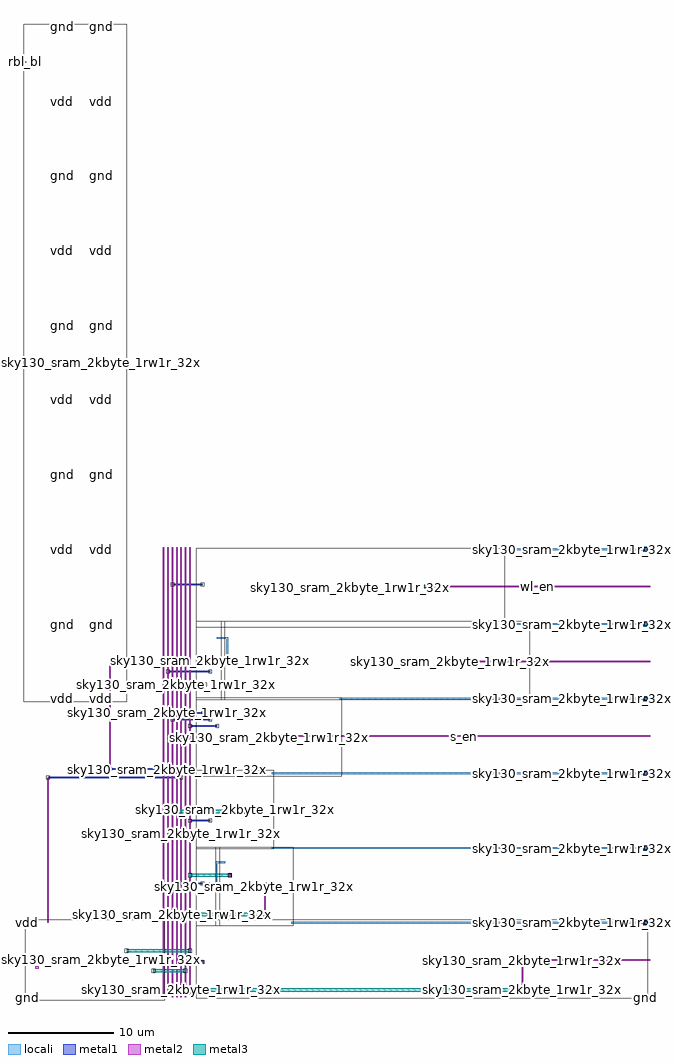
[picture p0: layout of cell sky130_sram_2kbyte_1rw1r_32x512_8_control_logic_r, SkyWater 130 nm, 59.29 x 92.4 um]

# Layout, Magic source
magic
tech sky130A
magscale 1 2
<< locali >>
rect 8998 8467 11698 8501
rect 8998 7053 11698 7087
rect 3573 6790 3792 6824
rect 3758 6308 3792 6790
rect 5908 5639 11698 5673
rect 4620 4225 11698 4259
rect 4620 2811 11698 2845
rect 3555 2541 3740 2575
rect 3555 2176 3589 2541
rect 3422 2142 3589 2176
rect 4988 1397 11698 1431
<< metal1 >>
rect 11666 8458 11730 8510
rect 2736 7801 3307 7829
rect 7502 7751 7566 7803
rect 11666 7044 11730 7096
rect 7970 6337 8034 6389
rect 2652 6160 3455 6188
rect 2820 5912 3355 5940
rect 11666 5630 11730 5682
rect 2652 5372 3322 5400
rect 2736 5248 3455 5276
rect 3072 5124 3588 5152
rect 4736 4923 4800 4975
rect 1553 4308 2652 4336
rect 11666 4216 11730 4268
rect 383 4148 2904 4176
rect 4094 3493 4158 3545
rect 3072 3332 3455 3360
rect 2904 3084 3355 3112
rect 11666 2802 11730 2854
rect 3791 2284 3855 2336
rect 2904 2145 3307 2173
rect 4462 2111 4526 2163
rect 11666 1388 11730 1440
rect 3275 643 3339 695
rect 9336 681 9400 733
rect 11666 -26 11730 26
<< metal2 >>
rect -57 17699 -29 17727
rect 1539 4322 1567 6401
rect 369 1414 397 4162
rect 137 538 203 590
rect 2554 0 2582 8524
rect 2638 0 2666 8524
rect 2722 0 2750 8524
rect 2806 0 2834 8524
rect 2890 0 2918 8524
rect 2974 0 3002 8524
rect 3058 0 3086 8524
rect 11670 8460 11726 8508
rect 7534 7763 11782 7791
rect 11670 7046 11726 7094
rect 8002 6349 11782 6377
rect 11670 5632 11726 5680
rect 4768 4935 11782 4963
rect 11670 4218 11726 4266
rect 4098 3495 4154 3543
rect 11670 2804 11726 2852
rect 3795 2286 3851 2334
rect 4480 1571 4508 2137
rect 11670 1390 11726 1438
rect 9368 707 11782 721
rect 9354 693 11782 707
rect 3293 655 3321 683
rect 9354 141 9382 693
rect 11670 -24 11726 24
<< metal3 >>
rect 607 18333 705 18431
rect 1343 18333 1441 18431
rect 607 16919 705 17017
rect 1343 16919 1441 17017
rect 607 15505 705 15603
rect 1343 15505 1441 15603
rect 607 14091 705 14189
rect 1343 14091 1441 14189
rect 607 12677 705 12775
rect 1343 12677 1441 12775
rect 607 11263 705 11361
rect 1343 11263 1441 11361
rect 607 9849 705 9947
rect 1343 9849 1441 9947
rect 607 8435 705 8533
rect 1343 8435 1441 8533
rect 11649 8435 11747 8533
rect 607 7021 705 7119
rect 1343 7021 1441 7119
rect 11649 7021 11747 7119
rect 607 5607 705 5705
rect 1343 5607 1441 5705
rect 11649 5607 11747 5705
rect 11649 4193 11747 4291
rect 2820 3489 4126 3549
rect 11649 2779 11747 2877
rect 3072 2280 3823 2340
rect 2736 1541 4494 1601
rect -49 1365 49 1463
rect 11649 1365 11747 1463
rect 1872 855 3072 915
rect 2378 473 2988 533
rect 2904 111 9368 171
rect -49 -49 49 49
rect 11649 -49 11747 49
use sky130_sram_2kbyte_1rw1r_32x512_8_dff_buf_array_0  sky130_sram_2kbyte_1rw1r_32x512_8_dff_buf_array_0_0
transform 1 0 0 0 1 0
box -49 -49 2590 1471
use sky130_sram_2kbyte_1rw1r_32x512_8_contact_7  sky130_sram_2kbyte_1rw1r_32x512_8_contact_7_16
transform 1 0 1839 0 1 848
box 0 0 66 74
use sky130_sram_2kbyte_1rw1r_32x512_8_contact_7  sky130_sram_2kbyte_1rw1r_32x512_8_contact_7_15
transform 1 0 2345 0 1 466
box 0 0 66 74
use sky130_sram_2kbyte_1rw1r_32x512_8_pand2_1  sky130_sram_2kbyte_1rw1r_32x512_8_pand2_1_1
transform 1 0 3594 0 -1 2828
box -36 -17 1430 1471
use sky130_sram_2kbyte_1rw1r_32x512_8_pinv_1  sky130_sram_2kbyte_1rw1r_32x512_8_pinv_1_0
transform 1 0 3226 0 -1 2828
box -36 -17 404 1471
use sky130_sram_2kbyte_1rw1r_32x512_8_contact_32  sky130_sram_2kbyte_1rw1r_32x512_8_contact_32_7
transform 1 0 3039 0 1 848
box 0 0 66 74
use sky130_sram_2kbyte_1rw1r_32x512_8_contact_32  sky130_sram_2kbyte_1rw1r_32x512_8_contact_32_6
transform 1 0 2955 0 1 466
box 0 0 66 74
use sky130_sram_2kbyte_1rw1r_32x512_8_contact_32  sky130_sram_2kbyte_1rw1r_32x512_8_contact_32_5
transform 1 0 2871 0 1 104
box 0 0 66 74
use sky130_sram_2kbyte_1rw1r_32x512_8_contact_19  sky130_sram_2kbyte_1rw1r_32x512_8_contact_19_24
transform 1 0 3275 0 1 637
box 0 0 64 64
use sky130_sram_2kbyte_1rw1r_32x512_8_contact_14  sky130_sram_2kbyte_1rw1r_32x512_8_contact_14_24
transform 1 0 3278 0 1 636
box 0 0 58 66
use sky130_sram_2kbyte_1rw1r_32x512_8_contact_32  sky130_sram_2kbyte_1rw1r_32x512_8_contact_32_0
transform 1 0 9335 0 1 104
box 0 0 66 74
use sky130_sram_2kbyte_1rw1r_32x512_8_contact_19  sky130_sram_2kbyte_1rw1r_32x512_8_contact_19_15
transform 1 0 9336 0 1 675
box 0 0 64 64
use sky130_sram_2kbyte_1rw1r_32x512_8_contact_19  sky130_sram_2kbyte_1rw1r_32x512_8_contact_19_14
transform 1 0 9336 0 1 675
box 0 0 64 64
use sky130_sram_2kbyte_1rw1r_32x512_8_contact_14  sky130_sram_2kbyte_1rw1r_32x512_8_contact_14_15
transform 1 0 9339 0 1 674
box 0 0 58 66
use sky130_sram_2kbyte_1rw1r_32x512_8_contact_14  sky130_sram_2kbyte_1rw1r_32x512_8_contact_14_14
transform 1 0 9339 0 1 674
box 0 0 58 66
use sky130_sram_2kbyte_1rw1r_32x512_8_contact_7  sky130_sram_2kbyte_1rw1r_32x512_8_contact_7_11
transform 1 0 11665 0 1 1377
box 0 0 66 74
use sky130_sram_2kbyte_1rw1r_32x512_8_contact_7  sky130_sram_2kbyte_1rw1r_32x512_8_contact_7_10
transform 1 0 11665 0 1 -37
box 0 0 66 74
use sky130_sram_2kbyte_1rw1r_32x512_8_contact_7  sky130_sram_2kbyte_1rw1r_32x512_8_contact_7_9
transform 1 0 11665 0 1 1377
box 0 0 66 74
use sky130_sram_2kbyte_1rw1r_32x512_8_contact_19  sky130_sram_2kbyte_1rw1r_32x512_8_contact_19_11
transform 1 0 11666 0 1 1382
box 0 0 64 64
use sky130_sram_2kbyte_1rw1r_32x512_8_contact_19  sky130_sram_2kbyte_1rw1r_32x512_8_contact_19_10
transform 1 0 11666 0 1 -32
box 0 0 64 64
use sky130_sram_2kbyte_1rw1r_32x512_8_contact_19  sky130_sram_2kbyte_1rw1r_32x512_8_contact_19_9
transform 1 0 11666 0 1 1382
box 0 0 64 64
use sky130_sram_2kbyte_1rw1r_32x512_8_contact_14  sky130_sram_2kbyte_1rw1r_32x512_8_contact_14_11
transform 1 0 11669 0 1 1381
box 0 0 58 66
use sky130_sram_2kbyte_1rw1r_32x512_8_contact_14  sky130_sram_2kbyte_1rw1r_32x512_8_contact_14_10
transform 1 0 11669 0 1 -33
box 0 0 58 66
use sky130_sram_2kbyte_1rw1r_32x512_8_contact_14  sky130_sram_2kbyte_1rw1r_32x512_8_contact_14_9
transform 1 0 11669 0 1 1381
box 0 0 58 66
use sky130_sram_2kbyte_1rw1r_32x512_8_pdriver_6  sky130_sram_2kbyte_1rw1r_32x512_8_pdriver_6_0
transform 1 0 3226 0 1 0
box -36 -17 8508 1471
use sky130_sram_2kbyte_1rw1r_32x512_8_contact_32  sky130_sram_2kbyte_1rw1r_32x512_8_contact_32_2
transform 1 0 2703 0 1 1534
box 0 0 66 74
use sky130_sram_2kbyte_1rw1r_32x512_8_contact_19  sky130_sram_2kbyte_1rw1r_32x512_8_contact_19_23
transform 1 0 2872 0 1 2127
box 0 0 64 64
use sky130_sram_2kbyte_1rw1r_32x512_8_contact_14  sky130_sram_2kbyte_1rw1r_32x512_8_contact_14_23
transform 1 0 3278 0 1 2126
box 0 0 58 66
use sky130_sram_2kbyte_1rw1r_32x512_8_contact_32  sky130_sram_2kbyte_1rw1r_32x512_8_contact_32_4
transform 1 0 3039 0 1 2273
box 0 0 66 74
use sky130_sram_2kbyte_1rw1r_32x512_8_contact_7  sky130_sram_2kbyte_1rw1r_32x512_8_contact_7_14
transform 1 0 3790 0 1 2273
box 0 0 66 74
use sky130_sram_2kbyte_1rw1r_32x512_8_contact_7  sky130_sram_2kbyte_1rw1r_32x512_8_contact_7_13
transform 1 0 3790 0 1 2273
box 0 0 66 74
use sky130_sram_2kbyte_1rw1r_32x512_8_contact_19  sky130_sram_2kbyte_1rw1r_32x512_8_contact_19_22
transform 1 0 3791 0 1 2278
box 0 0 64 64
use sky130_sram_2kbyte_1rw1r_32x512_8_contact_19  sky130_sram_2kbyte_1rw1r_32x512_8_contact_19_21
transform 1 0 3791 0 1 2278
box 0 0 64 64
use sky130_sram_2kbyte_1rw1r_32x512_8_contact_14  sky130_sram_2kbyte_1rw1r_32x512_8_contact_14_22
transform 1 0 3794 0 1 2277
box 0 0 58 66
use sky130_sram_2kbyte_1rw1r_32x512_8_contact_14  sky130_sram_2kbyte_1rw1r_32x512_8_contact_14_21
transform 1 0 3794 0 1 2277
box 0 0 58 66
use sky130_sram_2kbyte_1rw1r_32x512_8_pand2_1  sky130_sram_2kbyte_1rw1r_32x512_8_pand2_1_0
transform 1 0 3226 0 1 2828
box -36 -17 1430 1471
use sky130_sram_2kbyte_1rw1r_32x512_8_contact_14  sky130_sram_2kbyte_1rw1r_32x512_8_contact_14_20
transform 1 0 4465 0 1 2104
box 0 0 58 66
use sky130_sram_2kbyte_1rw1r_32x512_8_contact_19  sky130_sram_2kbyte_1rw1r_32x512_8_contact_19_20
transform 1 0 4462 0 1 2105
box 0 0 64 64
use sky130_sram_2kbyte_1rw1r_32x512_8_contact_32  sky130_sram_2kbyte_1rw1r_32x512_8_contact_32_3
transform 1 0 4461 0 1 1534
box 0 0 66 74
use sky130_sram_2kbyte_1rw1r_32x512_8_contact_14  sky130_sram_2kbyte_1rw1r_32x512_8_contact_14_6
transform 1 0 11669 0 1 2795
box 0 0 58 66
use sky130_sram_2kbyte_1rw1r_32x512_8_contact_14  sky130_sram_2kbyte_1rw1r_32x512_8_contact_14_8
transform 1 0 11669 0 1 2795
box 0 0 58 66
use sky130_sram_2kbyte_1rw1r_32x512_8_contact_19  sky130_sram_2kbyte_1rw1r_32x512_8_contact_19_6
transform 1 0 11666 0 1 2796
box 0 0 64 64
use sky130_sram_2kbyte_1rw1r_32x512_8_contact_19  sky130_sram_2kbyte_1rw1r_32x512_8_contact_19_8
transform 1 0 11666 0 1 2796
box 0 0 64 64
use sky130_sram_2kbyte_1rw1r_32x512_8_contact_7  sky130_sram_2kbyte_1rw1r_32x512_8_contact_7_6
transform 1 0 11665 0 1 2791
box 0 0 66 74
use sky130_sram_2kbyte_1rw1r_32x512_8_contact_7  sky130_sram_2kbyte_1rw1r_32x512_8_contact_7_8
transform 1 0 11665 0 1 2791
box 0 0 66 74
use sky130_sram_2kbyte_1rw1r_32x512_8_contact_19  sky130_sram_2kbyte_1rw1r_32x512_8_contact_19_27
transform 1 0 2620 0 1 4290
box 0 0 64 64
use sky130_sram_2kbyte_1rw1r_32x512_8_contact_19  sky130_sram_2kbyte_1rw1r_32x512_8_contact_19_28
transform 1 0 1521 0 1 4290
box 0 0 64 64
use sky130_sram_2kbyte_1rw1r_32x512_8_contact_19  sky130_sram_2kbyte_1rw1r_32x512_8_contact_19_35
transform 1 0 351 0 1 4130
box 0 0 64 64
use sky130_sram_2kbyte_1rw1r_32x512_8_contact_19  sky130_sram_2kbyte_1rw1r_32x512_8_contact_19_19
transform 1 0 2872 0 1 3066
box 0 0 64 64
use sky130_sram_2kbyte_1rw1r_32x512_8_contact_32  sky130_sram_2kbyte_1rw1r_32x512_8_contact_32_1
transform 1 0 2787 0 1 3482
box 0 0 66 74
use sky130_sram_2kbyte_1rw1r_32x512_8_contact_19  sky130_sram_2kbyte_1rw1r_32x512_8_contact_19_18
transform 1 0 3040 0 1 3314
box 0 0 64 64
use sky130_sram_2kbyte_1rw1r_32x512_8_contact_14  sky130_sram_2kbyte_1rw1r_32x512_8_contact_14_18
transform 1 0 3426 0 1 3313
box 0 0 58 66
use sky130_sram_2kbyte_1rw1r_32x512_8_contact_14  sky130_sram_2kbyte_1rw1r_32x512_8_contact_14_19
transform 1 0 3326 0 1 3065
box 0 0 58 66
use sky130_sram_2kbyte_1rw1r_32x512_8_contact_14  sky130_sram_2kbyte_1rw1r_32x512_8_contact_14_16
transform 1 0 4097 0 1 3486
box 0 0 58 66
use sky130_sram_2kbyte_1rw1r_32x512_8_contact_14  sky130_sram_2kbyte_1rw1r_32x512_8_contact_14_17
transform 1 0 4097 0 1 3486
box 0 0 58 66
use sky130_sram_2kbyte_1rw1r_32x512_8_contact_19  sky130_sram_2kbyte_1rw1r_32x512_8_contact_19_16
transform 1 0 4094 0 1 3487
box 0 0 64 64
use sky130_sram_2kbyte_1rw1r_32x512_8_contact_19  sky130_sram_2kbyte_1rw1r_32x512_8_contact_19_17
transform 1 0 4094 0 1 3487
box 0 0 64 64
use sky130_sram_2kbyte_1rw1r_32x512_8_contact_7  sky130_sram_2kbyte_1rw1r_32x512_8_contact_7_12
transform 1 0 4093 0 1 3482
box 0 0 66 74
use sky130_sram_2kbyte_1rw1r_32x512_8_contact_19  sky130_sram_2kbyte_1rw1r_32x512_8_contact_19_34
transform 1 0 2872 0 1 4130
box 0 0 64 64
use sky130_sram_2kbyte_1rw1r_32x512_8_pand3_0  sky130_sram_2kbyte_1rw1r_32x512_8_pand3_0_0
transform 1 0 3226 0 -1 5656
box -36 -17 2718 1471
use sky130_sram_2kbyte_1rw1r_32x512_8_contact_14  sky130_sram_2kbyte_1rw1r_32x512_8_contact_14_5
transform 1 0 11669 0 1 4209
box 0 0 58 66
use sky130_sram_2kbyte_1rw1r_32x512_8_contact_14  sky130_sram_2kbyte_1rw1r_32x512_8_contact_14_7
transform 1 0 11669 0 1 4209
box 0 0 58 66
use sky130_sram_2kbyte_1rw1r_32x512_8_contact_19  sky130_sram_2kbyte_1rw1r_32x512_8_contact_19_5
transform 1 0 11666 0 1 4210
box 0 0 64 64
use sky130_sram_2kbyte_1rw1r_32x512_8_contact_19  sky130_sram_2kbyte_1rw1r_32x512_8_contact_19_7
transform 1 0 11666 0 1 4210
box 0 0 64 64
use sky130_sram_2kbyte_1rw1r_32x512_8_contact_7  sky130_sram_2kbyte_1rw1r_32x512_8_contact_7_5
transform 1 0 11665 0 1 4205
box 0 0 66 74
use sky130_sram_2kbyte_1rw1r_32x512_8_contact_7  sky130_sram_2kbyte_1rw1r_32x512_8_contact_7_7
transform 1 0 11665 0 1 4205
box 0 0 66 74
use sky130_sram_2kbyte_1rw1r_32x512_8_contact_19  sky130_sram_2kbyte_1rw1r_32x512_8_contact_19_32
transform 1 0 2620 0 1 5354
box 0 0 64 64
use sky130_sram_2kbyte_1rw1r_32x512_8_contact_19  sky130_sram_2kbyte_1rw1r_32x512_8_contact_19_31
transform 1 0 2704 0 1 5230
box 0 0 64 64
use sky130_sram_2kbyte_1rw1r_32x512_8_contact_19  sky130_sram_2kbyte_1rw1r_32x512_8_contact_19_26
transform 1 0 2788 0 1 5894
box 0 0 64 64
use sky130_sram_2kbyte_1rw1r_32x512_8_pnand2_1  sky130_sram_2kbyte_1rw1r_32x512_8_pnand2_1_0
transform 1 0 3226 0 1 5656
box -36 -17 504 1471
use sky130_sram_2kbyte_1rw1r_32x512_8_contact_19  sky130_sram_2kbyte_1rw1r_32x512_8_contact_19_30
transform 1 0 3040 0 1 5106
box 0 0 64 64
use sky130_sram_2kbyte_1rw1r_32x512_8_contact_19  sky130_sram_2kbyte_1rw1r_32x512_8_contact_19_29
transform 1 0 4736 0 1 4917
box 0 0 64 64
use sky130_sram_2kbyte_1rw1r_32x512_8_contact_14  sky130_sram_2kbyte_1rw1r_32x512_8_contact_14_30
transform 1 0 3293 0 1 5353
box 0 0 58 66
use sky130_sram_2kbyte_1rw1r_32x512_8_contact_14  sky130_sram_2kbyte_1rw1r_32x512_8_contact_14_29
transform 1 0 3426 0 1 5229
box 0 0 58 66
use sky130_sram_2kbyte_1rw1r_32x512_8_contact_14  sky130_sram_2kbyte_1rw1r_32x512_8_contact_14_28
transform 1 0 3559 0 1 5105
box 0 0 58 66
use sky130_sram_2kbyte_1rw1r_32x512_8_contact_14  sky130_sram_2kbyte_1rw1r_32x512_8_contact_14_27
transform 1 0 4739 0 1 4916
box 0 0 58 66
use sky130_sram_2kbyte_1rw1r_32x512_8_contact_14  sky130_sram_2kbyte_1rw1r_32x512_8_contact_14_26
transform 1 0 3326 0 1 5893
box 0 0 58 66
use sky130_sram_2kbyte_1rw1r_32x512_8_pdriver_3  sky130_sram_2kbyte_1rw1r_32x512_8_pdriver_3_0
transform 1 0 3694 0 1 5656
box -36 -17 5808 1471
use sky130_sram_2kbyte_1rw1r_32x512_8_contact_14  sky130_sram_2kbyte_1rw1r_32x512_8_contact_14_2
transform 1 0 11669 0 1 5623
box 0 0 58 66
use sky130_sram_2kbyte_1rw1r_32x512_8_contact_14  sky130_sram_2kbyte_1rw1r_32x512_8_contact_14_4
transform 1 0 11669 0 1 5623
box 0 0 58 66
use sky130_sram_2kbyte_1rw1r_32x512_8_contact_19  sky130_sram_2kbyte_1rw1r_32x512_8_contact_19_2
transform 1 0 11666 0 1 5624
box 0 0 64 64
use sky130_sram_2kbyte_1rw1r_32x512_8_contact_19  sky130_sram_2kbyte_1rw1r_32x512_8_contact_19_4
transform 1 0 11666 0 1 5624
box 0 0 64 64
use sky130_sram_2kbyte_1rw1r_32x512_8_contact_7  sky130_sram_2kbyte_1rw1r_32x512_8_contact_7_2
transform 1 0 11665 0 1 5619
box 0 0 66 74
use sky130_sram_2kbyte_1rw1r_32x512_8_contact_7  sky130_sram_2kbyte_1rw1r_32x512_8_contact_7_4
transform 1 0 11665 0 1 5619
box 0 0 66 74
use sky130_sram_2kbyte_1rw1r_32x512_8_contact_14  sky130_sram_2kbyte_1rw1r_32x512_8_contact_14_25
transform 1 0 3426 0 1 6141
box 0 0 58 66
use sky130_sram_2kbyte_1rw1r_32x512_8_contact_19  sky130_sram_2kbyte_1rw1r_32x512_8_contact_19_25
transform 1 0 2620 0 1 6142
box 0 0 64 64
use sky130_sram_2kbyte_1rw1r_32x512_8_pdriver_3  sky130_sram_2kbyte_1rw1r_32x512_8_pdriver_3_1
transform 1 0 3226 0 -1 8484
box -36 -17 5808 1471
use sky130_sram_2kbyte_1rw1r_32x512_8_contact_14  sky130_sram_2kbyte_1rw1r_32x512_8_contact_14_12
transform 1 0 7973 0 1 6330
box 0 0 58 66
use sky130_sram_2kbyte_1rw1r_32x512_8_contact_19  sky130_sram_2kbyte_1rw1r_32x512_8_contact_19_13
transform 1 0 7970 0 1 6331
box 0 0 64 64
use sky130_sram_2kbyte_1rw1r_32x512_8_contact_14  sky130_sram_2kbyte_1rw1r_32x512_8_contact_14_1
transform 1 0 11669 0 1 7037
box 0 0 58 66
use sky130_sram_2kbyte_1rw1r_32x512_8_contact_14  sky130_sram_2kbyte_1rw1r_32x512_8_contact_14_3
transform 1 0 11669 0 1 7037
box 0 0 58 66
use sky130_sram_2kbyte_1rw1r_32x512_8_contact_19  sky130_sram_2kbyte_1rw1r_32x512_8_contact_19_1
transform 1 0 11666 0 1 7038
box 0 0 64 64
use sky130_sram_2kbyte_1rw1r_32x512_8_contact_19  sky130_sram_2kbyte_1rw1r_32x512_8_contact_19_3
transform 1 0 11666 0 1 7038
box 0 0 64 64
use sky130_sram_2kbyte_1rw1r_32x512_8_contact_7  sky130_sram_2kbyte_1rw1r_32x512_8_contact_7_1
transform 1 0 11665 0 1 7033
box 0 0 66 74
use sky130_sram_2kbyte_1rw1r_32x512_8_contact_7  sky130_sram_2kbyte_1rw1r_32x512_8_contact_7_3
transform 1 0 11665 0 1 7033
box 0 0 66 74
use sky130_sram_2kbyte_1rw1r_32x512_8_contact_7  sky130_sram_2kbyte_1rw1r_32x512_8_contact_7_0
transform 1 0 11665 0 1 8447
box 0 0 66 74
use sky130_sram_2kbyte_1rw1r_32x512_8_contact_19  sky130_sram_2kbyte_1rw1r_32x512_8_contact_19_33
transform 1 0 2704 0 1 7783
box 0 0 64 64
use sky130_sram_2kbyte_1rw1r_32x512_8_contact_19  sky130_sram_2kbyte_1rw1r_32x512_8_contact_19_12
transform 1 0 7502 0 1 7745
box 0 0 64 64
use sky130_sram_2kbyte_1rw1r_32x512_8_contact_19  sky130_sram_2kbyte_1rw1r_32x512_8_contact_19_0
transform 1 0 11666 0 1 8452
box 0 0 64 64
use sky130_sram_2kbyte_1rw1r_32x512_8_contact_14  sky130_sram_2kbyte_1rw1r_32x512_8_contact_14_31
transform 1 0 3278 0 1 7782
box 0 0 58 66
use sky130_sram_2kbyte_1rw1r_32x512_8_contact_14  sky130_sram_2kbyte_1rw1r_32x512_8_contact_14_13
transform 1 0 7505 0 1 7744
box 0 0 58 66
use sky130_sram_2kbyte_1rw1r_32x512_8_contact_14  sky130_sram_2kbyte_1rw1r_32x512_8_contact_14_0
transform 1 0 11669 0 1 8451
box 0 0 58 66
use sky130_sram_2kbyte_1rw1r_32x512_8_delay_chain  sky130_sram_2kbyte_1rw1r_32x512_8_delay_chain_0
transform 1 0 0 0 -1 18382
box -75 -49 1876 12783
<< labels >>
rlabel metal3 s 1343 11263 1441 11361 4 vdd
rlabel metal3 s 607 8435 705 8533 4 vdd
rlabel metal3 s 11649 1365 11747 1463 4 vdd
rlabel metal3 s 11649 4193 11747 4291 4 vdd
rlabel metal3 s 1343 5607 1441 5705 4 vdd
rlabel metal3 s 607 11263 705 11361 4 vdd
rlabel metal3 s 607 5607 705 5705 4 vdd
rlabel metal3 s 1343 16919 1441 17017 4 vdd
rlabel metal3 s 1343 14091 1441 14189 4 vdd
rlabel metal3 s -49 1365 49 1463 4 vdd
rlabel metal3 s 607 14091 705 14189 4 vdd
rlabel metal3 s 11649 7021 11747 7119 4 vdd
rlabel metal3 s 607 16919 705 17017 4 vdd
rlabel metal3 s 1343 8435 1441 8533 4 vdd
rlabel metal3 s 11649 -49 11747 49 4 gnd
rlabel metal3 s 1343 7021 1441 7119 4 gnd
rlabel metal3 s 607 15505 705 15603 4 gnd
rlabel metal3 s 11649 2779 11747 2877 4 gnd
rlabel metal3 s 1343 9849 1441 9947 4 gnd
rlabel metal3 s 1343 12677 1441 12775 4 gnd
rlabel metal3 s 11649 5607 11747 5705 4 gnd
rlabel metal3 s 1343 18333 1441 18431 4 gnd
rlabel metal3 s 11649 8435 11747 8533 4 gnd
rlabel metal3 s 607 9849 705 9947 4 gnd
rlabel metal3 s 607 18333 705 18431 4 gnd
rlabel metal3 s 607 7021 705 7119 4 gnd
rlabel metal3 s -49 -49 49 49 4 gnd
rlabel metal3 s 1343 15505 1441 15603 4 gnd
rlabel metal3 s 607 12677 705 12775 4 gnd
rlabel metal2 s 137 538 203 590 4 csb
rlabel metal2 s 7534 7763 11782 7791 4 wl_en
rlabel metal2 s 4768 4935 11782 4963 4 s_en
rlabel metal2 s -57 17699 -29 17727 4 rbl_bl
rlabel metal2 s 8002 6349 11782 6377 4 p_en_bar
rlabel metal2 s 3293 655 3321 683 4 clk
rlabel metal2 s 9368 693 11782 721 4 clk_buf
<< properties >>
string FIXED_BBOX 0 0 11782 18542
<< end >>
